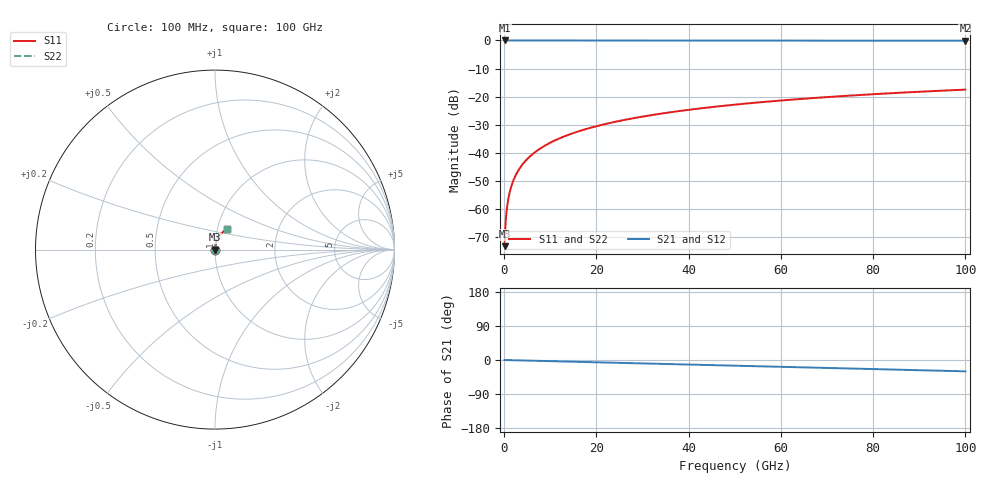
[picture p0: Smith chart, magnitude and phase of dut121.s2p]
! Touchstone file exported from HFSS 2026.1.0
!  File:  C:/ffzhzh/LocalFiles/Ansys_Project_Files/temp_train_TSV_121_1783506114_31944.aedt
!  Generated:  06:23:13 PM Jul  8, 2026
!  Design:  TSV
!  Project:  temp_train_TSV_121_1783506114_31944
! Variables:
!  h_bsmrdl = 2um
!  h_ox = 20um
!  h_rdl = 5um
!  h_sub = 52.56um
!  h_tmrdl = 5um
!  h_tsv = 52.56um
!  h_via = 3um
!  l_bsmrdl = 300um
!  l_sub = 416.4um
!  l_tmrdl = 200um
!  m_sub = 200um
!  pitch = 46.46um
!  r_tsv = 8.2um
!  s_tmrdl = 10um
!  w_bsmrdl = 18um
!  w_sub = 500um
!  w_tmrdl = 12um
!  x_tsv_center1 = 206um
!  x_tsv_center2 = 524um
!  x_tsv_center3 = 736um
!  x_tsv_center4 = 1054um
!  x_tsv_center5 = 1266um
!  x_tsv_center6 = 1584um
# GHz S MA R 50.000000
! Terminal data exported
! Port[1] = TSV1_1_T1
! Port[2] = TSV1_1_T2
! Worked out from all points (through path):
!   1000 points, 100 MHz to 100 GHz, reference 50 ohm
!   highest |S21| = 0.00 dB at 100 MHz (marker M1); lowest = -0.1 dB at 100 GHz (marker M2)
!   group delay of S21, straight-line fit = 830 fs
!   lowest |S11| = -73.2 dB at 100 MHz (marker M3), VSWR 1.00, Z = 50 + j0.0181 ohm
!   |S11| at or under -10 dB: start of sweep to end of sweep
!   |S22| runs from -73.2 to -17.5 dB; largest |S21 - S12| = 7e-15
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0.1  0.0002194 55.4  0.9999 -0.0  0.9999 -0.0  0.0002194 55.4
! Gamma 0 0 0 0
! Port Impedance 50 0 50 0
0.4  0.0007126 76.8  0.9998 -0.1  0.9998 -0.1  0.0007126 76.8
0.7  0.001195 80.4  0.9998 -0.2  0.9998 -0.2  0.001195 80.4
0.8  0.001355 81.0  0.9998 -0.2  0.9998 -0.2  0.001355 81.0
1  0.001672 82.0  0.9998 -0.3  0.9998 -0.3  0.001672 82.0
1.3  0.002146 82.9  0.9997 -0.4  0.9997 -0.4  0.002146 82.9
1.7  0.002771 83.5  0.9997 -0.5  0.9997 -0.5  0.002771 83.5
2.3  0.003697 84.0  0.9997 -0.7  0.9997 -0.7  0.003697 84.0
3  0.004762 84.3  0.9996 -0.9  0.9996 -0.9  0.004762 84.3
3.8  0.005967 84.5  0.9995 -1.2  0.9995 -1.2  0.005967 84.5
4.8  0.007465 84.7  0.9995 -1.5  0.9995 -1.5  0.007465 84.7
6  0.009256 84.7  0.9994 -1.8  0.9994 -1.8  0.009256 84.7
8.8  0.01342 84.4  0.9992 -2.7  0.9992 -2.7  0.01342 84.4
12.4  0.01874 83.7  0.999 -3.8  0.999 -3.8  0.01874 83.7
16.8  0.02518 82.7  0.9987 -5.1  0.9987 -5.1  0.02518 82.7
24.2  0.03592 80.9  0.9982 -7.3  0.9982 -7.3  0.03592 80.9
33.4  0.04909 78.4  0.9975 -10.1  0.9975 -10.1  0.04909 78.4
41.2  0.06006 76.2  0.9967 -12.4  0.9967 -12.4  0.06006 76.2
50.1  0.0723 73.7  0.9957 -15.1  0.9957 -15.1  0.0723 73.7
66.7  0.09417 68.8  0.9937 -20.0  0.9937 -20.0  0.09417 68.8
83.4  0.1147 64.0  0.9913 -25.0  0.9913 -25.0  0.1147 64.0
100  0.1335 59.2  0.9887 -29.9  0.9887 -29.9  0.1335 59.2
